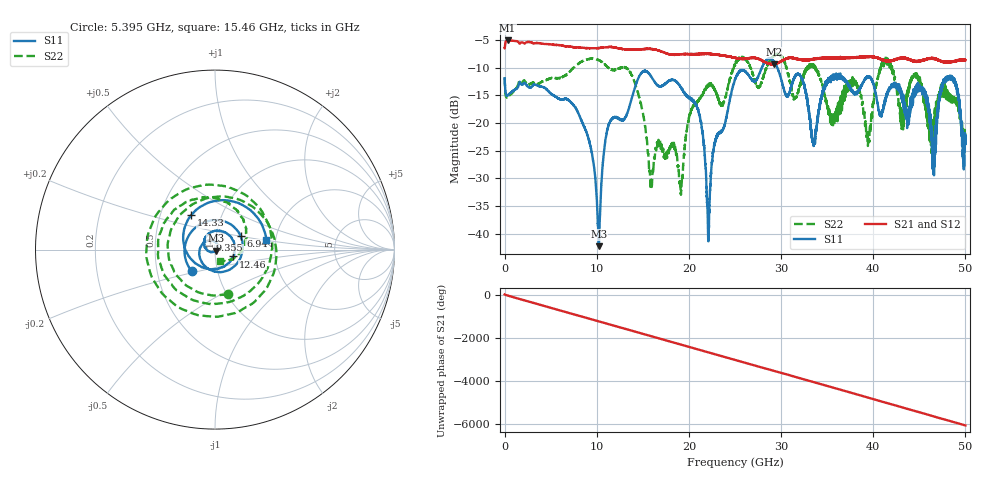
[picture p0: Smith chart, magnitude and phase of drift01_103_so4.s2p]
!Created with skrf (http://scikit-rf.org).
# Hz S RI R 50.0
!freq ReS11 ImS11 ReS21 ImS21 ReS12 ImS12 ReS22 ImS22
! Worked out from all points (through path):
!   10001 points, 300 kHz to 50 GHz, reference 50 ohm
!   highest |S21| = -5.05 dB at 325.3 MHz (marker M1); lowest = -9.4 dB at 29.21 GHz (marker M2)
!   group delay of S21, straight-line fit = 336 ps
!   lowest |S11| = -42.3 dB at 10.24 GHz (marker M3), VSWR 1.02, Z = 50.4 - j0.664 ohm
!   |S11| at or under -10 dB: start of sweep to 27.91 GHz; 29.6 GHz to end of sweep
!   |S22| runs from -33.0 to -7.5 dB; largest |S21 - S12| = 0.014
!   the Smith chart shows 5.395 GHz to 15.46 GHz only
!   S11 on the Smith chart (normalised r, x): 5.395 GHz: 0.75, -0.18; 6.94 GHz: 1.31, +0.20; 9.355 GHz: 0.94, +0.10; 12.46 GHz: 1.22, -0.09; 14.33 GHz: 0.72, +0.29; 15.46 GHz: 1.79, +0.21
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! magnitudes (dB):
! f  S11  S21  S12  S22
! 300 kHz  -11.9  -6.5  -6.5  -11.8
! 325.3 MHz  -15.0  -5.1  -5.1  -15.3
! 5.395 GHz  -15.1  -5.9  -5.9  -11.8
! 6.94 GHz  -15.9  -6.1  -6.1  -10.9
! 8.335 GHz  -19.5  -6.4  -6.4  -8.9
! 9.355 GHz  -24.5  -6.5  -6.4  -8.4
! 10.24 GHz  -42.3  -6.4  -6.4  -8.6
! 12.46 GHz  -19.2  -6.5  -6.5  -10.1
! 14.33 GHz  -12.7  -6.7  -6.7  -13.7
! 15.46 GHz  -10.7  -6.6  -6.6  -23.4
! 16.67 GHz  -13.2  -6.9  -6.9  -23.4
! 19.14 GHz  -13.6  -7.5  -7.6  -32.9
! 20.86 GHz  -17.0  -7.6  -7.5  -16.2
! 22.12 GHz  -41.4  -7.5  -7.5  -13.3
! 25 GHz  -12.1  -8.2  -8.2  -9.5
! 29.21 GHz  -8.9  -9.4  -9.4  -7.9
! 33.34 GHz  -22.8  -8.5  -8.4  -9.7
! 39.47 GHz  -11.6  -8.0  -8.0  -22.3
! 41.67 GHz  -13.9  -8.8  -8.7  -8.9
! 46.56 GHz  -26.6  -8.3  -8.3  -20.7
! 48.56 GHz  -12.2  -8.8  -8.8  -15.4
! 50 GHz  -23.8  -8.6  -8.6  -23.1
